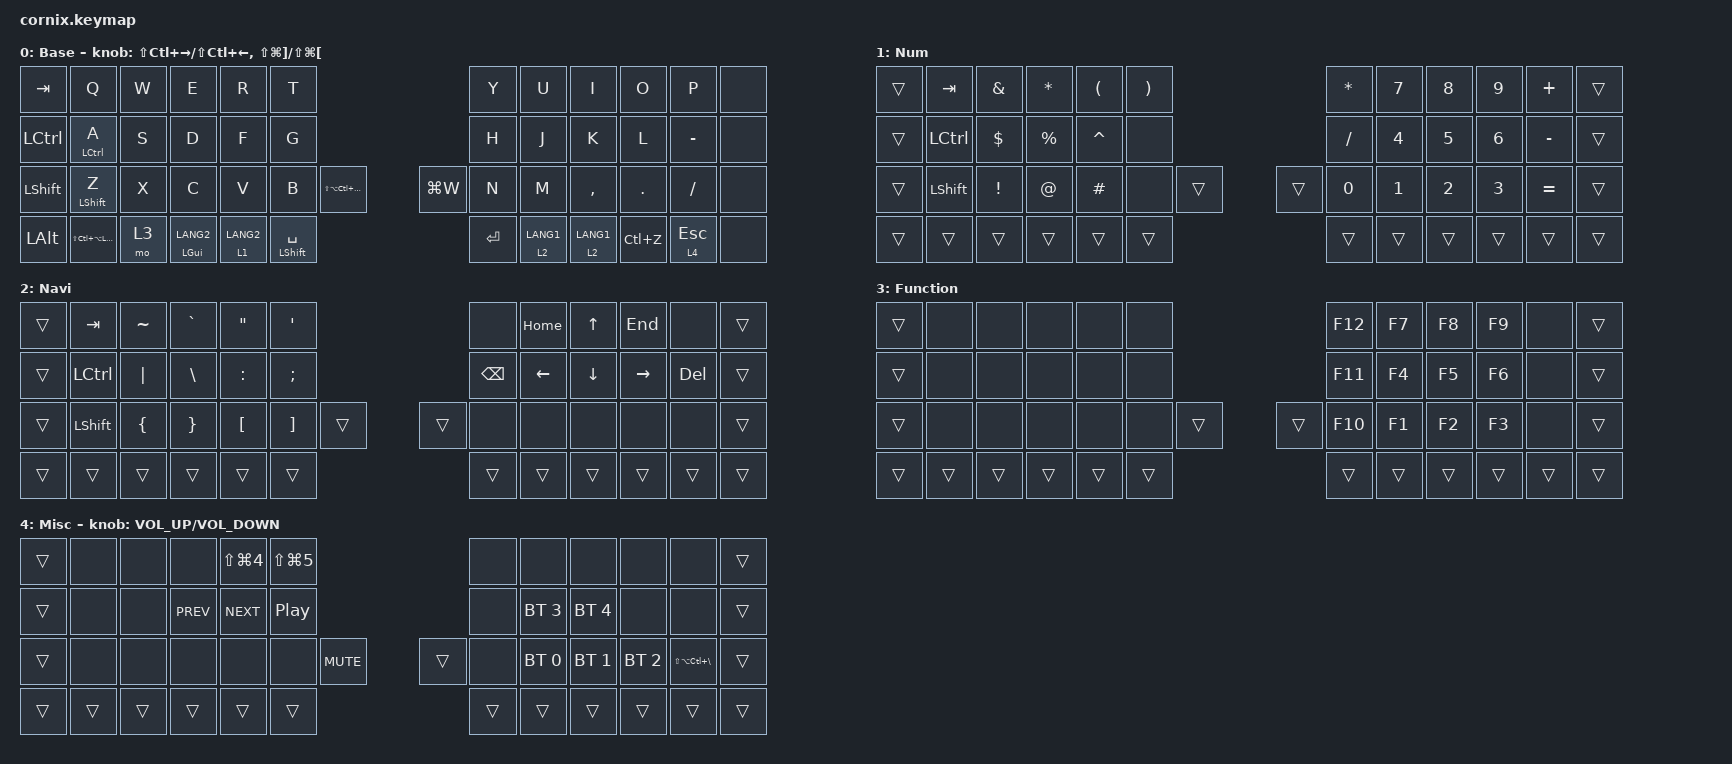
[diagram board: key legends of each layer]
/*
 * Copyright (c) 2020 The ZMK Contributors
 *
 * SPDX-License-Identifier: MIT
 */

#include "zmk-helpers/helper.h"
#include "includes/cornix54.h"

// tap windows for ctl alt and gui

#define HM_TAPPING_TERM 200
#define HM_TAPPING_REPEAT 210

// quick tapping for shift

#define HM_TAPPING_TERM_FAST 200
#define HM_PRIOR_IDLE 150
#define BASE 0
#define WIN 1
#define LOWER 2
#define RAISE 3
#define ADJUST 4
#define NAVI   5
#define NUM    6
#define DEBUG  7

// https://github.com/urob/zmk-config/tree/main#timeless-homerow-mods

#define KEYS_L LT0 LT1 LT2 LT3 LT4 LT5 LM0 LM1 LM2 LM3 LM4 LM5 LB0 LB1 LB2 LB3 LB4 LB5  // left hand
#define KEYS_R RT0 RT1 RT2 RT3 RT4 RT5 RM0 RM1 RM2 RM3 RM4 RM5 RB0 RB1 RB2 RB3 RB4 RB5  // right hand
#define THUMBS LH1 LH0 RH0 RH1
#define KEYS_T LH1 LH0 RH0 RH1
#define ZMK_POINTING_DEFAULT_SCRL_VAL 15

#include <behaviors.dtsi>
#include <dt-bindings/zmk/bt.h>
#include <dt-bindings/zmk/keys.h>

/ {
    // Activate ADJUST layer by pressing raise and lower

    behaviors {
        mt: mod_tap {
            compatible = "zmk,behavior-hold-tap";
            #binding-cells = <2>;
            bindings = <&kp>, <&kp>;

            flavor = "tap-preferred";
            tapping-term-ms = <HM_TAPPING_TERM>;
            quick-tap-ms = <200>;
            require-prior-idle-ms = <HM_PRIOR_IDLE>;
            hold-trigger-on-release;
        };

        hm_l: homerow_mods_left {
            compatible = "zmk,behavior-hold-tap";
            #binding-cells = <2>;
            bindings = <&kp>, <&kp>;

            flavor = "balanced";
            tapping-term-ms = <HM_TAPPING_TERM>;
            quick-tap-ms = <200>;                // repeat on tap-into-hold
            require-prior-idle-ms = <HM_PRIOR_IDLE>;
            hold-trigger-key-positions = <KEYS_R KEYS_T>;
            hold-trigger-on-release;
        };

        hm_r: homerow_mods_right {
            compatible = "zmk,behavior-hold-tap";
            #binding-cells = <2>;
            bindings = <&kp>, <&kp>;

            flavor = "balanced";
            tapping-term-ms = <HM_TAPPING_TERM>;
            quick-tap-ms = <200>;
            require-prior-idle-ms = <HM_PRIOR_IDLE>;
            hold-trigger-key-positions = <KEYS_L KEYS_T>;
            hold-trigger-on-release;
        };

        // Positional Homerow mods for shift
        // Use faster tapping term and disable some features that may
        // cause false negatives.

        hm_shift_l: hm_shift_l {
            compatible = "zmk,behavior-hold-tap";
            #binding-cells = <2>;
            bindings = <&kp>, <&kp>;

            //flavor = "balanced";

            flavor = "balanced";
            tapping-term-ms = <HM_TAPPING_TERM_FAST>;
            quick-tap-ms = <200>;
            require-prior-idle-ms = <HM_PRIOR_IDLE>;
            hold-trigger-key-positions = <KEYS_R KEYS_T>;
            hold-trigger-on-release;
        };

        hm_shift_r: hm_shift_r {
            compatible = "zmk,behavior-hold-tap";
            #binding-cells = <2>;
            bindings = <&kp>, <&kp>;

            flavor = "balanced";
            tapping-term-ms = <HM_TAPPING_TERM_FAST>;
            quick-tap-ms = <200>;
            require-prior-idle-ms = <HM_PRIOR_IDLE>;
            hold-trigger-key-positions = <KEYS_L KEYS_T>;

            // for quick tapping; shift+~

            hold-trigger-on-release;
        };

        /*
         * Non-Positional Homerow Mods
         * Used for &mm_grescm_gui behavior on left hand.
         *
         * Usage: &hm LSHFT T
         * Tap: T
         * Tap-Tap-Hold: Repeat T
         * Hold: LSHIFT
         */

        hm: homerow_mods {
            compatible = "zmk,behavior-hold-tap";
            #binding-cells = <2>;
            bindings = <&kp>, <&kp>;

            flavor = "balanced";
            tapping-term-ms = <HM_TAPPING_TERM>;
            quick-tap-ms = <200>;
        };

        lt: layer_tap {
            compatible = "zmk,behavior-hold-tap";
            #binding-cells = <2>;
            bindings = <&mo>, <&kp>;

            flavor = "balanced";
            tapping-term-ms = <HM_TAPPING_TERM>;
            quick-tap-ms = <200>;
            require-prior-idle-ms = <HM_PRIOR_IDLE>;
        };
    };

    conditional_layers { compatible = "zmk,conditional-layers"; };

    combos { compatible = "zmk,combos"; };

    keymap {
        compatible = "zmk,keymap";

        default_layer {
            display-name = "Base";

            // ------------------------------------------------------------------------------------------------------------
            // |   `   |  1  |  2  |  3   |  4   |  5   |                   |  6   |  7    |  8    |  9   |   0   |       |
            // |  ESC  |  Q  |  W  |  E   |  R   |  T   |                   |  Y   |  U    |  I    |  O   |   P   | BKSPC |
            // |  TAB  |  A  |  S  |  D   |  F   |  G   |                   |  H   |  J    |  K    |  L   |   ;   |   '   |
            // | SHIFT |  Z  |  X  |  C   |  V   |  B   |  MUTE  |  |       |  N   |  M    |  ,    |  .   |   /   | SHIFT |
            //               | GUI | ALT  | CTRL | LOWER|  ENTER |  | SPACE | RAISE| CTRL  | ALT   | GUI  |

            bindings = <
&kp TAB           &kp Q                     &kp W  &kp E               &kp R        &kp T                                                      &kp Y      &kp U        &kp I        &kp O      &kp P      &none
&kp LEFT_CONTROL  &mt LEFT_CONTROL A        &kp S  &kp D               &kp F        &kp G                                                      &kp H      &kp J        &kp K        &kp L      &kp MINUS  &none
&kp LEFT_SHIFT    &mt LEFT_SHIFT Z          &kp X  &kp C               &kp V        &kp B                 &kp LS(LA(LC(LG(DOWN))))  &kp LG(W)  &kp N      &kp M        &kp COMMA    &kp DOT    &kp FSLH   &none
&kp LEFT_ALT      &kp LS(LC(LA(LEFT_GUI)))  &mo 3  &mt LEFT_GUI LANG2  &lt 1 LANG2  &mt LEFT_SHIFT SPACE                                       &kp ENTER  &lt 2 LANG1  &lt 2 LANG1  &kp LC(Z)  &lt 4 ESC  &none
            >;

            sensor-bindings =
                <&inc_dec_kp LS(LC(RIGHT)) LS(LC(LEFT))>,
                <&inc_dec_kp LS(LG(RIGHT_BRACKET)) LS(LG(LEFT_BRACKET))>;
        };

        num_layer {
            display-name = "Num";

            // ------------------------------------------------------------------------------------------------------------
            // |   `   |  1  |  2  |  3   |  4   |  5   |                   |  6   |  7    |  8    |  9   |   0   |       |
            // |  ESC  |  Q  |  W  |  E   |  R   |  T   |                   |  Y   |  U    |  I    |  O   |   P   | BKSPC |
            // |  TAB  |  A  |  S  |  D   |  F   |  G   |                   |  H   |  J    |  K    |  L   |   ;   |   '   |
            // | SHIFT |  Z  |  X  |  C   |  V   |  B   |  MUTE  |  |       |  N   |  M    |  ,    |  .   |   /   | SHIFT |
            //               | GUI | ALT  | CTRL | LOWER|  ENTER |  | SPACE | RAISE| CTRL  | ALT   | GUI  |

            bindings = <
&trans  &kp TAB           &kp AMPERSAND    &kp ASTERISK  &kp LEFT_PARENTHESIS  &kp RIGHT_PARENTHESIS                  &kp ASTERISK  &kp N7        &kp N8        &kp N9        &kp PLUS   &trans
&trans  &kp LEFT_CONTROL  &kp DOLLAR       &kp PERCENT   &kp CARET             &none                                  &kp SLASH     &kp NUMBER_4  &kp N5        &kp NUMBER_6  &kp MINUS  &trans
&trans  &kp LEFT_SHIFT    &kp EXCLAMATION  &kp AT_SIGN   &kp HASH              &none                  &trans  &trans  &kp N0        &kp NUMBER_1  &kp NUMBER_2  &kp NUMBER_3  &kp EQUAL  &trans
&trans  &trans            &trans           &trans        &trans                &trans                                 &trans        &trans        &trans        &trans        &trans     &trans
            >;
        };

        Navi_layer {
            display-name = "Navi";
            bindings = <
&trans  &kp TAB           &kp TILDE       &kp GRAVE        &kp DOUBLE_QUOTES  &kp SQT                            &none          &kp HOME  &kp UP_ARROW  &kp END    &none    &trans
&trans  &kp LEFT_CONTROL  &kp PIPE        &kp BACKSLASH    &kp COLON          &kp SEMI                           &kp BACKSPACE  &kp LEFT  &kp DOWN      &kp RIGHT  &kp DEL  &trans
&trans  &kp LEFT_SHIFT    &kp LEFT_BRACE  &kp RIGHT_BRACE  &kp LEFT_BRACKET   &kp RIGHT_BRACKET  &trans  &trans  &none          &none     &none         &none      &none    &trans
&trans  &trans            &trans          &trans           &trans             &trans                             &trans         &trans    &trans        &trans     &trans   &trans
            >;
        };

        function_layer {
            display-name = "Function";

            // TODO: Some binds are waiting for shifted keycode support.
            // -------------------------------
            // |       |  F1 |  F2 |  F3  |  F4  |  F5  |                   |  F6  |  F7   |  F8   |  F9  |  F10  |  F11  |
            // |   `   |  1  |  2  |  3   |  4   |  5   |                   |  6   |  7    |  8    |  9   |   0   |  F12  |
            // |       |  !  |  @  |  #   |  $   |  %   |                   |  ^   |  &    |  *    |  (   |   )   |   |   |
            // |       |  =  |  -  |  +   |  {   |  }   |        |  |       |  [   |  ]    |  ;    |  :   |   \   |       |
            //               |     |      |      |      |        |  |       |      |       |       |      |

            bindings = <
&trans  &none   &none   &none   &none   &none                   &kp F12  &kp F7  &kp F8  &kp F9  &none   &trans
&trans  &none   &none   &none   &none   &none                   &kp F11  &kp F4  &kp F5  &kp F6  &none   &trans
&trans  &none   &none   &none   &none   &none   &trans  &trans  &kp F10  &kp F1  &kp F2  &kp F3  &none   &trans
&trans  &trans  &trans  &trans  &trans  &trans                  &trans   &trans  &trans  &trans  &trans  &trans
            >;
        };

        misc_layer {
            bindings = <
&trans  &none   &none   &none       &kp LS(LG(NUMBER_4))  &kp LS(LG(N5))                        &none   &none         &none         &none         &none                      &trans
&trans  &none   &none   &kp C_PREV  &kp C_NEXT            &kp C_PLAY_PAUSE                      &none   &bt BT_SEL 3  &bt BT_SEL 4  &none         &none                      &trans
&trans  &none   &none   &none       &none                 &none             &kp C_MUTE  &trans  &none   &bt BT_SEL 0  &bt BT_SEL 1  &bt BT_SEL 2  &kp LS(LA(LC(BACKSLASH)))  &trans
&trans  &trans  &trans  &trans      &trans                &trans                                &trans  &trans        &trans        &trans        &trans                     &trans
            >;

            sensor-bindings = <&inc_dec_kp C_VOLUME_UP C_VOLUME_DOWN>;
            label = "Misc";
        };
    };
};
